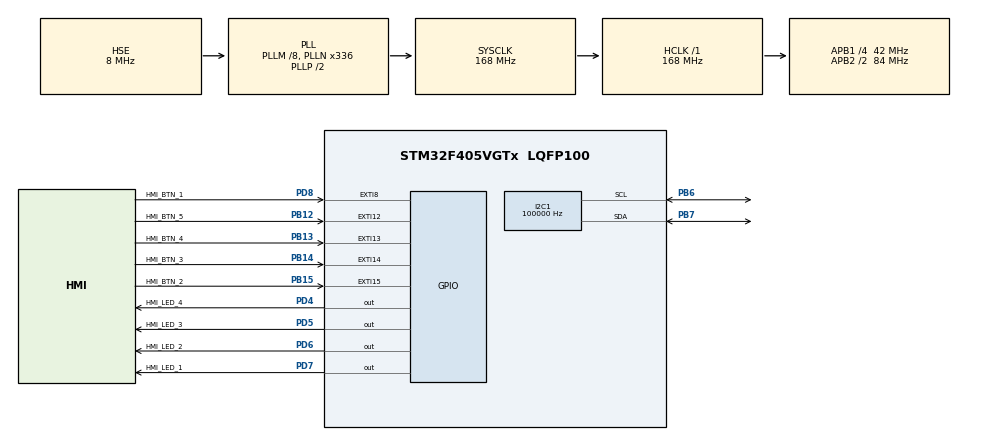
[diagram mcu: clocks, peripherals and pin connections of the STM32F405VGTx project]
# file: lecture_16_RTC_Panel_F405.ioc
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I2C1.ClockSpeed=100000
Mcu.Family=STM32F4
Mcu.Name=STM32F405VGTx
Mcu.Package=LQFP100
NVIC.EXTI15_10_IRQn=true\:0\:0\:false\:false\:true\:true\:true\:true
NVIC.EXTI9_5_IRQn=true\:0\:0\:false\:false\:true\:true\:true\:true
NVIC.PriorityGroup=NVIC_PRIORITYGROUP_4
NVIC.RTC_Alarm_IRQn=true\:0\:0\:false\:false\:true\:true\:true\:true
PA13.Mode=Serial_Wire
PA13.Signal=SYS_JTMS-SWDIO
PA14.Mode=Serial_Wire
PA14.Signal=SYS_JTCK-SWCLK
PB12.GPIO_Label=HMI_BTN_5
PB12.GPIO_ModeDefaultEXTI=GPIO_MODE_IT_RISING_FALLING
PB12.GPIO_PuPd=GPIO_PULLDOWN
PB12.Signal=GPXTI12
PB13.GPIO_Label=HMI_BTN_4
PB13.GPIO_ModeDefaultEXTI=GPIO_MODE_IT_RISING_FALLING
PB13.GPIO_PuPd=GPIO_PULLDOWN
PB13.Signal=GPXTI13
PB14.GPIO_Label=HMI_BTN_3
PB14.GPIO_ModeDefaultEXTI=GPIO_MODE_IT_RISING_FALLING
PB14.GPIO_PuPd=GPIO_PULLDOWN
PB14.Signal=GPXTI14
PB15.GPIO_Label=HMI_BTN_2
PB15.GPIO_ModeDefaultEXTI=GPIO_MODE_IT_RISING_FALLING
PB15.GPIO_PuPd=GPIO_PULLDOWN
PB15.Signal=GPXTI15
PB6.Mode=I2C
PB6.Signal=I2C1_SCL
PB7.Mode=I2C
PB7.Signal=I2C1_SDA
PC14-OSC32_IN.Mode=LSE-External-Oscillator
PC14-OSC32_IN.Signal=RCC_OSC32_IN
PC15-OSC32_OUT.Mode=LSE-External-Oscillator
PC15-OSC32_OUT.Signal=RCC_OSC32_OUT
PD4.GPIO_Label=HMI_LED_4
PD4.GPIO_ModeDefaultOutputPP=GPIO_MODE_OUTPUT_PP
PD4.GPIO_PuPd=GPIO_NOPULL
PD4.GPIO_Speed=GPIO_SPEED_FREQ_LOW
PD4.PinState=GPIO_PIN_RESET
PD4.Signal=GPIO_Output
PD5.GPIO_Label=HMI_LED_3
PD5.GPIO_ModeDefaultOutputPP=GPIO_MODE_OUTPUT_PP
PD5.GPIO_PuPd=GPIO_NOPULL
PD5.GPIO_Speed=GPIO_SPEED_FREQ_LOW
PD5.PinState=GPIO_PIN_RESET
PD5.Signal=GPIO_Output
PD6.GPIO_Label=HMI_LED_2
PD6.GPIO_ModeDefaultOutputPP=GPIO_MODE_OUTPUT_PP
PD6.GPIO_PuPd=GPIO_NOPULL
PD6.GPIO_Speed=GPIO_SPEED_FREQ_LOW
PD6.PinState=GPIO_PIN_RESET
PD6.Signal=GPIO_Output
PD7.GPIO_Label=HMI_LED_1
PD7.GPIO_ModeDefaultOutputPP=GPIO_MODE_OUTPUT_PP
PD7.GPIO_PuPd=GPIO_NOPULL
PD7.GPIO_Speed=GPIO_SPEED_FREQ_LOW
PD7.PinState=GPIO_PIN_RESET
PD7.Signal=GPIO_Output
PD8.GPIO_Label=HMI_BTN_1
PD8.GPIO_ModeDefaultEXTI=GPIO_MODE_IT_RISING_FALLING
PD8.GPIO_PuPd=GPIO_PULLDOWN
PD8.Signal=GPXTI8
PH0-OSC_IN.Mode=HSE-External-Oscillator
PH0-OSC_IN.Signal=RCC_OSC_IN
PH1-OSC_OUT.Mode=HSE-External-Oscillator
PH1-OSC_OUT.Signal=RCC_OSC_OUT
ProjectManager.HeapSize=0x200
ProjectManager.StackSize=0x400
ProjectManager.TargetToolchain=STM32CubeIDE
RCC.AHBFreq_Value=168000000
RCC.APB1CLKDivider=RCC_HCLK_DIV4
RCC.APB1Freq_Value=42000000
RCC.APB1TimFreq_Value=84000000
RCC.APB2CLKDivider=RCC_HCLK_DIV2
RCC.APB2Freq_Value=84000000
RCC.APB2TimFreq_Value=168000000
RCC.CortexFreq_Value=168000000
RCC.HCLKFreq_Value=168000000
RCC.HSE_VALUE=8000000
RCC.HSI_VALUE=16000000
RCC.PLLM=8
RCC.PLLN=336
RCC.PLLQ=7
RCC.PLLSourceVirtual=RCC_PLLSOURCE_HSE
RCC.RCC_RTC_Clock_SourceVirtual=RCC_RTCCLKSOURCE_LSE
RCC.SYSCLKFreq_VALUE=168000000
RCC.SYSCLKSource=RCC_SYSCLKSOURCE_PLLCLK
RCC.VCOOutputFreq_Value=336000000
RTC.Alarm=RTC_ALARM_A
VP_RTC_VS_RTC_Activate.Mode=RTC_Enabled
VP_RTC_VS_RTC_Alarm_A_Intern.Mode=Alarm A
VP_RTC_VS_RTC_Calendar.Mode=RTC_Calendar
board=custom

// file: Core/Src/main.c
/* USER CODE BEGIN Header */
/**
  ******************************************************************************
  * @file           : main.c
  * @brief          : Main program body
  ******************************************************************************
  * @attention
  *
  * Copyright (c) 2026 STMicroelectronics.
  * All rights reserved.
  *
  * This software is licensed under terms that can be found in the LICENSE file
  * in the root directory of this software component.
  * If no LICENSE file comes with this software, it is provided AS-IS.
  *
  ******************************************************************************
  */
/* USER CODE END Header */
#include "main.h"
#include "i2c.h"
#include "rtc.h"
#include "gpio.h"

/* USER CODE BEGIN Includes */
#include "OLED.h"
#include <stdio.h>
#include "alarm_clock.h"
/* USER CODE END Includes */

void SystemClock_Config(void);

/* USER CODE BEGIN 0 */
// [panel] I2C-busz helyreallitasa. Ha a feltoltes vagy a reset egy atvitel kozepen erte a buszt,
// a szenzor lefogva tarthatja az SDA-t (neki nincs reset laba, csak a tap elvetele allitja vissza).
// Ilyenkor minden I2C-hivas hibat ad. A gyogymod: legfeljebb 9 orajel az SCL-en, amig az SDA
// el nem engedodik, aztan egy STOP. Az MX_I2C1_Init() elott kell lefutnia.
static void I2C_Bus_Recovery(void)
{
  GPIO_InitTypeDef gpio = {0};
  __HAL_RCC_GPIOB_CLK_ENABLE();
  HAL_GPIO_WritePin(GPIOB, GPIO_PIN_6 | GPIO_PIN_7, GPIO_PIN_SET);
  gpio.Pin = GPIO_PIN_6 | GPIO_PIN_7;          // PB6 = SCL, PB7 = SDA, most sima open-drain kimenetkent
  gpio.Mode = GPIO_MODE_OUTPUT_OD;
  gpio.Pull = GPIO_NOPULL;
  gpio.Speed = GPIO_SPEED_FREQ_LOW;
  HAL_GPIO_Init(GPIOB, &gpio);
  for (int i = 0; i < 9 && HAL_GPIO_ReadPin(GPIOB, GPIO_PIN_7) == GPIO_PIN_RESET; i++)
  {
    HAL_GPIO_WritePin(GPIOB, GPIO_PIN_6, GPIO_PIN_RESET);
    HAL_Delay(1);
    HAL_GPIO_WritePin(GPIOB, GPIO_PIN_6, GPIO_PIN_SET);
    HAL_Delay(1);
  }
  // START, majd STOP (SDA le, aztan fel, mikozben az SCL magas): minden eszkoz alapallapotba ker
  HAL_GPIO_WritePin(GPIOB, GPIO_PIN_7, GPIO_PIN_RESET);
  HAL_Delay(1);
  HAL_GPIO_WritePin(GPIOB, GPIO_PIN_7, GPIO_PIN_SET);
  HAL_Delay(1);
}
/* USER CODE END 0 */

int main(void)
{

  /* MCU Configuration--------------------------------------------------------*/

  /* Reset of all peripherals, Initializes the Flash interface and the Systick. */
  HAL_Init();

  /* Configure the system clock */
  SystemClock_Config();

  /* USER CODE BEGIN SysInit */
  I2C_Bus_Recovery();   // [panel] lasd fent
  /* USER CODE END SysInit */

  /* Initialize all configured peripherals */
  MX_GPIO_Init();
  MX_I2C1_Init();
  MX_RTC_Init();
  /* USER CODE BEGIN 2 */
  OLED_Init();
  /* USER CODE END 2 */

  /* Infinite loop */
  /* USER CODE BEGIN WHILE */
  while (1)
  {
	AlarmClock_MainFunction();
    /* USER CODE END WHILE */

  }
}

void SystemClock_Config(void)
{
  RCC_OscInitTypeDef RCC_OscInitStruct = {0};
  RCC_ClkInitTypeDef RCC_ClkInitStruct = {0};

  /** Configure the main internal regulator output voltage
  */
  __HAL_RCC_PWR_CLK_ENABLE();
  __HAL_PWR_VOLTAGESCALING_CONFIG(PWR_REGULATOR_VOLTAGE_SCALE1);

  /** Initializes the RCC Oscillators according to the specified parameters
  * in the RCC_OscInitTypeDef structure.
  */
  RCC_OscInitStruct.OscillatorType = RCC_OSCILLATORTYPE_HSE|RCC_OSCILLATORTYPE_LSE;
  RCC_OscInitStruct.HSEState = RCC_HSE_ON;
  RCC_OscInitStruct.LSEState = RCC_LSE_ON;
  RCC_OscInitStruct.PLL.PLLState = RCC_PLL_ON;
  RCC_OscInitStruct.PLL.PLLSource = RCC_PLLSOURCE_HSE;
  RCC_OscInitStruct.PLL.PLLM = 8;
  RCC_OscInitStruct.PLL.PLLN = 336;
  RCC_OscInitStruct.PLL.PLLP = RCC_PLLP_DIV2;
  RCC_OscInitStruct.PLL.PLLQ = 7;
  if (HAL_RCC_OscConfig(&RCC_OscInitStruct) != HAL_OK)
  {
    Error_Handler();
  }

  /** Initializes the CPU, AHB and APB buses clocks
  */
  RCC_ClkInitStruct.ClockType = RCC_CLOCKTYPE_HCLK|RCC_CLOCKTYPE_SYSCLK
                              |RCC_CLOCKTYPE_PCLK1|RCC_CLOCKTYPE_PCLK2;
  RCC_ClkInitStruct.SYSCLKSource = RCC_SYSCLKSOURCE_PLLCLK;
  RCC_ClkInitStruct.AHBCLKDivider = RCC_SYSCLK_DIV1;
  RCC_ClkInitStruct.APB1CLKDivider = RCC_HCLK_DIV4;
  RCC_ClkInitStruct.APB2CLKDivider = RCC_HCLK_DIV2;

  if (HAL_RCC_ClockConfig(&RCC_ClkInitStruct, FLASH_LATENCY_5) != HAL_OK)
  {
    Error_Handler();
  }
}

void Error_Handler(void)
{
  /* USER CODE BEGIN Error_Handler_Debug */
  /* User can add his own implementation to report the HAL error return state */
  // [panel] Ha valami nem indul el (pl. az LSE kvarc): mind a 4 LED egyutt villog
  __disable_irq();
  __HAL_RCC_GPIOD_CLK_ENABLE();
  GPIO_InitTypeDef gpio = {0};
  gpio.Pin = HMI_LED_1_Pin | HMI_LED_2_Pin | HMI_LED_3_Pin | HMI_LED_4_Pin;
  gpio.Mode = GPIO_MODE_OUTPUT_PP;
  HAL_GPIO_Init(GPIOD, &gpio);
  while (1)
  {
    HAL_GPIO_TogglePin(GPIOD, gpio.Pin);
    for (volatile uint32_t i = 0; i < 3000000; i++);   // kb. 0,2 s (itt a HAL_Delay nem megy: tiltva a megszakitas)
  }
  /* USER CODE END Error_Handler_Debug */
}
